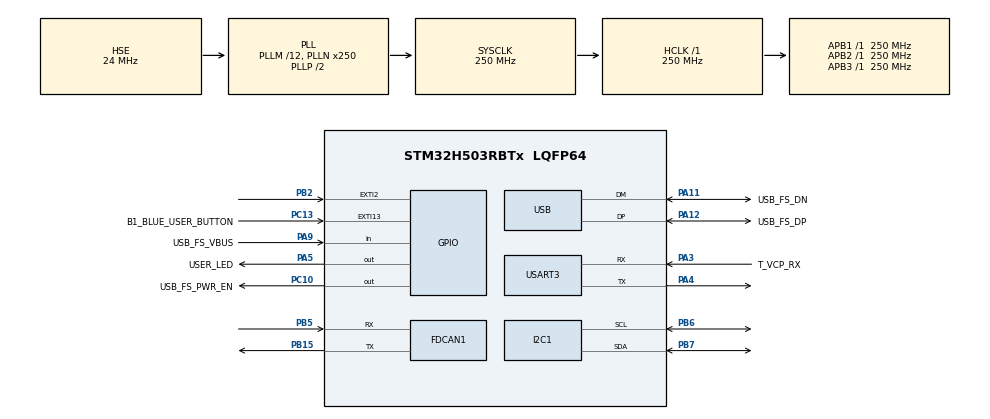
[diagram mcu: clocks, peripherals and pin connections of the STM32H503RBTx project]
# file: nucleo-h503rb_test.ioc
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FDCAN1.CalculateBaudRateNominal=1000000
FDCAN1.CalculateTimeQuantumNominal=200.0
I2C1.Timing=0x60808CD3
Mcu.Family=STM32H5
Mcu.Name=STM32H503RBTx
Mcu.Package=LQFP64
NVIC.FDCAN1_IT0_IRQn=true\:0\:0\:false\:false\:true\:true\:true\:true
NVIC.FDCAN1_IT1_IRQn=true\:0\:0\:false\:false\:true\:true\:true\:true
NVIC.PriorityGroup=NVIC_PRIORITYGROUP_4
PA11.GPIO_Label=USB_FS_DN
PA11.Mode=Device
PA11.Signal=USB_DM
PA12.GPIO_Label=USB_FS_DP
PA12.Mode=Device
PA12.Signal=USB_DP
PA13(JTMS/SWDIO).GPIO_Label=T_SWDIO
PA13(JTMS/SWDIO).Mode=JTAG_4_pins
PA13(JTMS/SWDIO).Signal=DEBUG_JTMS-SWDIO
PA14(JTCK/SWCLK).GPIO_Label=T_SWCLK
PA14(JTCK/SWCLK).Mode=JTAG_4_pins
PA14(JTCK/SWCLK).Signal=DEBUG_JTCK-SWCLK
PA15(JTDI).GPIO_Label=T_JTDI
PA15(JTDI).Mode=JTAG_4_pins
PA15(JTDI).Signal=DEBUG_JTDI
PA3.GPIO_Label=T_VCP_RX
PA3.Mode=Asynchronous
PA3.Signal=USART3_RX
PA4.Mode=Asynchronous
PA4.Signal=USART3_TX
PA5.GPIO_Label=USER_LED
PA5.PinState=GPIO_PIN_SET
PA5.Signal=GPIO_Output
PA9.GPIO_Label=USB_FS_VBUS
PA9.Signal=GPIO_Input
PB10.Signal=I2C2_SCL
PB13.Signal=I2C2_SDA
PB14.GPIO_Label=ARD_D1_TX
PB14.Signal=USART1_TX
PB15.Mode=FDCAN_Activate
PB15.Signal=FDCAN1_TX
PB2.Signal=GPXTI2
PB3(JTDO/TRACESWO).GPIO_Label=T_SWO
PB3(JTDO/TRACESWO).Mode=JTAG_4_pins
PB3(JTDO/TRACESWO).Signal=DEBUG_JTDO-SWO
PB5.Mode=FDCAN_Activate
PB5.Signal=FDCAN1_RX
PB6.Mode=I2C
PB6.Signal=I2C1_SCL
PB7.Mode=I2C
PB7.Signal=I2C1_SDA
PC10.GPIO_Label=USB_FS_PWR_EN
PC10.Signal=GPIO_Output
PC13.GPIO_Label=B1_BLUE_USER_BUTTON
PC13.Signal=GPXTI13
PC14-OSC32_IN(OSC32_IN).Mode=LSE-External-Oscillator
PC14-OSC32_IN(OSC32_IN).Signal=RCC_OSC32_IN
PC15-OSC32_OUT(OSC32_OUT).Mode=LSE-External-Oscillator
PC15-OSC32_OUT(OSC32_OUT).Signal=RCC_OSC32_OUT
PH0-OSC_IN(PH0).Mode=HSE-External-Oscillator
PH0-OSC_IN(PH0).Signal=RCC_OSC_IN
PH1-OSC_OUT(PH1).Mode=HSE-External-Oscillator
PH1-OSC_OUT(PH1).Signal=RCC_OSC_OUT
ProjectManager.HeapSize=0x200
ProjectManager.StackSize=0x400
ProjectManager.TargetToolchain=STM32CubeIDE
RCC.ADCFreq_Value=250000000
RCC.AHBFreq_Value=250000000
RCC.APB1Freq_Value=250000000
RCC.APB1TimFreq_Value=250000000
RCC.APB2Freq_Value=250000000
RCC.APB2TimFreq_Value=250000000
RCC.APB3Freq_Value=250000000
RCC.CSI_VALUE=4000000
RCC.CortexFreq_Value=250000000
RCC.EPOD_VALUE=24000000
RCC.FDCANClockSelection=RCC_FDCANCLKSOURCE_PLL2Q
RCC.HCLKFreq_Value=250000000
RCC.HSE_VALUE=24000000
RCC.HSI48_VALUE=48000000
RCC.HSIDiv=RCC_HSI_DIV1
RCC.HSI_VALUE=64000000
RCC.LSIRC_VALUE=32000
RCC.PLL2M=3
RCC.PLL2N=60
RCC.PLL2Q=6
RCC.PLL2Source=RCC_PLL2_SOURCE_HSE
RCC.PLLM=12
RCC.PLLN=250
RCC.PLLSourceVirtual=RCC_PLL1_SOURCE_HSE
RCC.SYSCLKFreq_VALUE=250000000
RCC.SYSCLKSource=RCC_SYSCLKSOURCE_PLLCLK
RCC.USBFreq_Value=48000000
RCC.VCOOutputFreq_Value=500000000
USART3.VirtualMode=VM_ASYNC
USB.VirtualMode=Device_Only
VP_ICACHE_VS_ICACHE.Mode=DefaultMode
VP_PWR_VS_SECSignals.Mode=Security/Privilege
board=NUCLEO-H503RB

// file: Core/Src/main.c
/* USER CODE BEGIN Header */
/**
  ******************************************************************************
  * @file           : main.c
  * @brief          : Main program body
  ******************************************************************************
  * @attention
  *
  * Copyright (c) 2023 STMicroelectronics.
  * All rights reserved.
  *
  * This software is licensed under terms that can be found in the LICENSE file
  * in the root directory of this software component.
  * If no LICENSE file comes with this software, it is provided AS-IS.
  *
  ******************************************************************************
  */
/* USER CODE END Header */
#include "main.h"

/* USER CODE BEGIN Includes */
#include "skp_can.h"
/* USER CODE END Includes */

FDCAN_HandleTypeDef hfdcan1;

I2C_HandleTypeDef hi2c1;

UART_HandleTypeDef huart3;

PCD_HandleTypeDef hpcd_USB_DRD_FS;

void SystemClock_Config(void);
static void MX_GPIO_Init(void);
static void MX_ICACHE_Init(void);
static void MX_USB_PCD_Init(void);
static void MX_FDCAN1_Init(void);
static void MX_USART3_UART_Init(void);
static void MX_I2C1_Init(void);
/* USER CODE BEGIN PFP */
#define PUTCHAR_PROTOTYPE int __io_putchar(int ch)
/* USER CODE END PFP */

/* USER CODE BEGIN 0 */
uint32_t systick;

FDCAN_RxHeaderTypeDef RxHeader;
uint8_t RxData[64];
FDCAN_TxHeaderTypeDef TxHeader;
uint8_t TxData[64];
/* USER CODE END 0 */

int main(void)
{
  /* USER CODE BEGIN 1 */
	  uint32_t tick = 0;
	  uint16_t i=0;
  /* USER CODE END 1 */

  /* MCU Configuration--------------------------------------------------------*/

  /* Reset of all peripherals, Initializes the Flash interface and the Systick. */
  HAL_Init();

  /* Configure the system clock */
  SystemClock_Config();

  /* Initialize all configured peripherals */
  MX_GPIO_Init();
  MX_ICACHE_Init();
  MX_USB_PCD_Init();
  MX_FDCAN1_Init();
  MX_USART3_UART_Init();
  MX_I2C1_Init();
  /* USER CODE BEGIN 2 */
  printf("\n\n#########################################\n");
  printf("STM32H503 CAN FD Test skpang.co.uk 04/23\n\n");

  skp_can_init();
  FDCAN_Config();

  TxHeader.Identifier = 0x124;
  TxHeader.IdType = FDCAN_STANDARD_ID;
  TxHeader.TxFrameType = FDCAN_DATA_FRAME;
  TxHeader.DataLength = FDCAN_DLC_BYTES_64;
  TxHeader.ErrorStateIndicator = FDCAN_ESI_ACTIVE;
  TxHeader.BitRateSwitch = FDCAN_BRS_ON;
  TxHeader.FDFormat = FDCAN_FD_CAN;
  TxHeader.TxEventFifoControl = FDCAN_NO_TX_EVENTS;
  TxHeader.MessageMarker = 0;
  TxData[0] = i;
  TxData[1] = i>>8;
  TxData[2] = 0x12;
  TxData[3] = 0x35;

  /* USER CODE END 2 */

  /* Infinite loop */
  while (1)
  {

    /* USER CODE BEGIN 3 */
	  HAL_GPIO_WritePin(USER_LED_GPIO_Port, USER_LED_Pin, GPIO_PIN_SET);
	  HAL_Delay(100);
	 // printf("hello\n");
	  HAL_GPIO_WritePin(USER_LED_GPIO_Port, USER_LED_Pin, GPIO_PIN_RESET);
	  HAL_Delay(100);
      if (HAL_FDCAN_AddMessageToTxFifoQ(&hfdcan1, &TxHeader, TxData) != HAL_OK)
	         {
	        	  printf("Tx error\n");
		           Error_Handler();
		         }
 	   TxData[1] = i>>8;
	   TxData[0] = i++;

  }
  /* USER CODE END 3 */
}

void SystemClock_Config(void)
{
  RCC_OscInitTypeDef RCC_OscInitStruct = {0};
  RCC_ClkInitTypeDef RCC_ClkInitStruct = {0};

  /** Configure the main internal regulator output voltage
  */
  __HAL_PWR_VOLTAGESCALING_CONFIG(PWR_REGULATOR_VOLTAGE_SCALE0);

  while(!__HAL_PWR_GET_FLAG(PWR_FLAG_VOSRDY)) {}

  /** Initializes the RCC Oscillators according to the specified parameters
  * in the RCC_OscInitTypeDef structure.
  */
  RCC_OscInitStruct.OscillatorType = RCC_OSCILLATORTYPE_HSI48|RCC_OSCILLATORTYPE_HSE;
  RCC_OscInitStruct.HSEState = RCC_HSE_ON;
  RCC_OscInitStruct.HSI48State = RCC_HSI48_ON;
  RCC_OscInitStruct.PLL.PLLState = RCC_PLL_ON;
  RCC_OscInitStruct.PLL.PLLSource = RCC_PLL1_SOURCE_HSE;
  RCC_OscInitStruct.PLL.PLLM = 12;
  RCC_OscInitStruct.PLL.PLLN = 250;
  RCC_OscInitStruct.PLL.PLLP = 2;
  RCC_OscInitStruct.PLL.PLLQ = 2;
  RCC_OscInitStruct.PLL.PLLR = 2;
  RCC_OscInitStruct.PLL.PLLRGE = RCC_PLL1_VCIRANGE_1;
  RCC_OscInitStruct.PLL.PLLVCOSEL = RCC_PLL1_VCORANGE_WIDE;
  RCC_OscInitStruct.PLL.PLLFRACN = 0;
  if (HAL_RCC_OscConfig(&RCC_OscInitStruct) != HAL_OK)
  {
    Error_Handler();
  }

  /** Initializes the CPU, AHB and APB buses clocks
  */
  RCC_ClkInitStruct.ClockType = RCC_CLOCKTYPE_HCLK|RCC_CLOCKTYPE_SYSCLK
                              |RCC_CLOCKTYPE_PCLK1|RCC_CLOCKTYPE_PCLK2
                              |RCC_CLOCKTYPE_PCLK3;
  RCC_ClkInitStruct.SYSCLKSource = RCC_SYSCLKSOURCE_PLLCLK;
  RCC_ClkInitStruct.AHBCLKDivider = RCC_SYSCLK_DIV1;
  RCC_ClkInitStruct.APB1CLKDivider = RCC_HCLK_DIV1;
  RCC_ClkInitStruct.APB2CLKDivider = RCC_HCLK_DIV1;
  RCC_ClkInitStruct.APB3CLKDivider = RCC_HCLK_DIV1;

  if (HAL_RCC_ClockConfig(&RCC_ClkInitStruct, FLASH_LATENCY_5) != HAL_OK)
  {
    Error_Handler();
  }
}

static void MX_FDCAN1_Init(void)
{

  hfdcan1.Instance = FDCAN1;
  hfdcan1.Init.ClockDivider = FDCAN_CLOCK_DIV1;
  hfdcan1.Init.FrameFormat = FDCAN_FRAME_CLASSIC;
  hfdcan1.Init.Mode = FDCAN_MODE_NORMAL;
  hfdcan1.Init.AutoRetransmission = DISABLE;
  hfdcan1.Init.TransmitPause = DISABLE;
  hfdcan1.Init.ProtocolException = DISABLE;
  hfdcan1.Init.NominalPrescaler = 16;
  hfdcan1.Init.NominalSyncJumpWidth = 1;
  hfdcan1.Init.NominalTimeSeg1 = 2;
  hfdcan1.Init.NominalTimeSeg2 = 2;
  hfdcan1.Init.DataPrescaler = 1;
  hfdcan1.Init.DataSyncJumpWidth = 1;
  hfdcan1.Init.DataTimeSeg1 = 1;
  hfdcan1.Init.DataTimeSeg2 = 1;
  hfdcan1.Init.StdFiltersNbr = 0;
  hfdcan1.Init.ExtFiltersNbr = 0;
  hfdcan1.Init.TxFifoQueueMode = FDCAN_TX_FIFO_OPERATION;
  if (HAL_FDCAN_Init(&hfdcan1) != HAL_OK)
  {
    Error_Handler();
  }

}

static void MX_I2C1_Init(void)
{

  hi2c1.Instance = I2C1;
  hi2c1.Init.Timing = 0x60808CD3;
  hi2c1.Init.OwnAddress1 = 0;
  hi2c1.Init.AddressingMode = I2C_ADDRESSINGMODE_7BIT;
  hi2c1.Init.DualAddressMode = I2C_DUALADDRESS_DISABLE;
  hi2c1.Init.OwnAddress2 = 0;
  hi2c1.Init.OwnAddress2Masks = I2C_OA2_NOMASK;
  hi2c1.Init.GeneralCallMode = I2C_GENERALCALL_DISABLE;
  hi2c1.Init.NoStretchMode = I2C_NOSTRETCH_DISABLE;
  if (HAL_I2C_Init(&hi2c1) != HAL_OK)
  {
    Error_Handler();
  }

  /** Configure Analogue filter
  */
  if (HAL_I2CEx_ConfigAnalogFilter(&hi2c1, I2C_ANALOGFILTER_ENABLE) != HAL_OK)
  {
    Error_Handler();
  }

  /** Configure Digital filter
  */
  if (HAL_I2CEx_ConfigDigitalFilter(&hi2c1, 0) != HAL_OK)
  {
    Error_Handler();
  }

}

static void MX_ICACHE_Init(void)
{

  /** Enable instruction cache (default 2-ways set associative cache)
  */
  if (HAL_ICACHE_Enable() != HAL_OK)
  {
    Error_Handler();
  }

}

static void MX_USART3_UART_Init(void)
{

  huart3.Instance = USART3;
  huart3.Init.BaudRate = 115200;
  huart3.Init.WordLength = UART_WORDLENGTH_8B;
  huart3.Init.StopBits = UART_STOPBITS_1;
  huart3.Init.Parity = UART_PARITY_NONE;
  huart3.Init.Mode = UART_MODE_TX_RX;
  huart3.Init.HwFlowCtl = UART_HWCONTROL_NONE;
  huart3.Init.OverSampling = UART_OVERSAMPLING_16;
  huart3.Init.OneBitSampling = UART_ONE_BIT_SAMPLE_DISABLE;
  huart3.Init.ClockPrescaler = UART_PRESCALER_DIV1;
  huart3.AdvancedInit.AdvFeatureInit = UART_ADVFEATURE_NO_INIT;
  if (HAL_UART_Init(&huart3) != HAL_OK)
  {
    Error_Handler();
  }
  if (HAL_UARTEx_SetTxFifoThreshold(&huart3, UART_TXFIFO_THRESHOLD_1_8) != HAL_OK)
  {
    Error_Handler();
  }
  if (HAL_UARTEx_SetRxFifoThreshold(&huart3, UART_RXFIFO_THRESHOLD_1_8) != HAL_OK)
  {
    Error_Handler();
  }
  if (HAL_UARTEx_DisableFifoMode(&huart3) != HAL_OK)
  {
    Error_Handler();
  }

}

static void MX_USB_PCD_Init(void)
{

  hpcd_USB_DRD_FS.Instance = USB_DRD_FS;
  hpcd_USB_DRD_FS.Init.dev_endpoints = 8;
  hpcd_USB_DRD_FS.Init.Host_channels = 8;
  hpcd_USB_DRD_FS.Init.speed = USBD_FS_SPEED;
  hpcd_USB_DRD_FS.Init.phy_itface = PCD_PHY_EMBEDDED;
  hpcd_USB_DRD_FS.Init.Sof_enable = DISABLE;
  hpcd_USB_DRD_FS.Init.low_power_enable = DISABLE;
  hpcd_USB_DRD_FS.Init.lpm_enable = DISABLE;
  hpcd_USB_DRD_FS.Init.battery_charging_enable = DISABLE;
  hpcd_USB_DRD_FS.Init.vbus_sensing_enable = DISABLE;
  hpcd_USB_DRD_FS.Init.bulk_doublebuffer_enable = DISABLE;
  hpcd_USB_DRD_FS.Init.iso_singlebuffer_enable = DISABLE;
  if (HAL_PCD_Init(&hpcd_USB_DRD_FS) != HAL_OK)
  {
    Error_Handler();
  }

}

static void MX_GPIO_Init(void)
{
  GPIO_InitTypeDef GPIO_InitStruct = {0};

  /* GPIO Ports Clock Enable */
  __HAL_RCC_GPIOC_CLK_ENABLE();
  __HAL_RCC_GPIOH_CLK_ENABLE();
  __HAL_RCC_GPIOA_CLK_ENABLE();
  __HAL_RCC_GPIOB_CLK_ENABLE();

  /*Configure GPIO pin Output Level */
  HAL_GPIO_WritePin(USER_LED_GPIO_Port, USER_LED_Pin, GPIO_PIN_SET);

  /*Configure GPIO pin Output Level */
  HAL_GPIO_WritePin(USB_FS_PWR_EN_GPIO_Port, USB_FS_PWR_EN_Pin, GPIO_PIN_RESET);

  /*Configure GPIO pin : B1_BLUE_USER_BUTTON_Pin */
  GPIO_InitStruct.Pin = B1_BLUE_USER_BUTTON_Pin;
  GPIO_InitStruct.Mode = GPIO_MODE_IT_RISING;
  GPIO_InitStruct.Pull = GPIO_NOPULL;
  HAL_GPIO_Init(B1_BLUE_USER_BUTTON_GPIO_Port, &GPIO_InitStruct);

  /*Configure GPIO pin : USER_LED_Pin */
  GPIO_InitStruct.Pin = USER_LED_Pin;
  GPIO_InitStruct.Mode = GPIO_MODE_OUTPUT_PP;
  GPIO_InitStruct.Pull = GPIO_NOPULL;
  GPIO_InitStruct.Speed = GPIO_SPEED_FREQ_LOW;
  HAL_GPIO_Init(USER_LED_GPIO_Port, &GPIO_InitStruct);

  /*Configure GPIO pin : PB2 */
  GPIO_InitStruct.Pin = GPIO_PIN_2;
  GPIO_InitStruct.Mode = GPIO_MODE_IT_RISING;
  GPIO_InitStruct.Pull = GPIO_NOPULL;
  HAL_GPIO_Init(GPIOB, &GPIO_InitStruct);

  /*Configure GPIO pins : PB10 PB13 */
  GPIO_InitStruct.Pin = GPIO_PIN_10|GPIO_PIN_13;
  GPIO_InitStruct.Mode = GPIO_MODE_AF_OD;
  GPIO_InitStruct.Pull = GPIO_NOPULL;
  GPIO_InitStruct.Speed = GPIO_SPEED_FREQ_LOW;
  GPIO_InitStruct.Alternate = GPIO_AF4_I2C2;
  HAL_GPIO_Init(GPIOB, &GPIO_InitStruct);

  /*Configure GPIO pin : ARD_D1_TX_Pin */
  GPIO_InitStruct.Pin = ARD_D1_TX_Pin;
  GPIO_InitStruct.Mode = GPIO_MODE_AF_PP;
  GPIO_InitStruct.Pull = GPIO_NOPULL;
  GPIO_InitStruct.Speed = GPIO_SPEED_FREQ_LOW;
  GPIO_InitStruct.Alternate = GPIO_AF4_USART1;
  HAL_GPIO_Init(ARD_D1_TX_GPIO_Port, &GPIO_InitStruct);

  /*Configure GPIO pin : USB_FS_VBUS_Pin */
  GPIO_InitStruct.Pin = USB_FS_VBUS_Pin;
  GPIO_InitStruct.Mode = GPIO_MODE_INPUT;
  GPIO_InitStruct.Pull = GPIO_NOPULL;
  HAL_GPIO_Init(USB_FS_VBUS_GPIO_Port, &GPIO_InitStruct);

  /*Configure GPIO pin : USB_FS_PWR_EN_Pin */
  GPIO_InitStruct.Pin = USB_FS_PWR_EN_Pin;
  GPIO_InitStruct.Mode = GPIO_MODE_OUTPUT_PP;
  GPIO_InitStruct.Pull = GPIO_NOPULL;
  GPIO_InitStruct.Speed = GPIO_SPEED_FREQ_LOW;
  HAL_GPIO_Init(USB_FS_PWR_EN_GPIO_Port, &GPIO_InitStruct);

}

/* USER CODE BEGIN 4 */
PUTCHAR_PROTOTYPE
{
  /* Place your implementation of fputc here */
  /* e.g. write a character to the USART1 and Loop until the end of transmission */
  HAL_UART_Transmit(&huart3, (uint8_t *)&ch, 1, 0xFFFF);

  return ch;
}
/* USER CODE END 4 */

void Error_Handler(void)
{
  __disable_irq();
  while (1)
  {
  }
}
